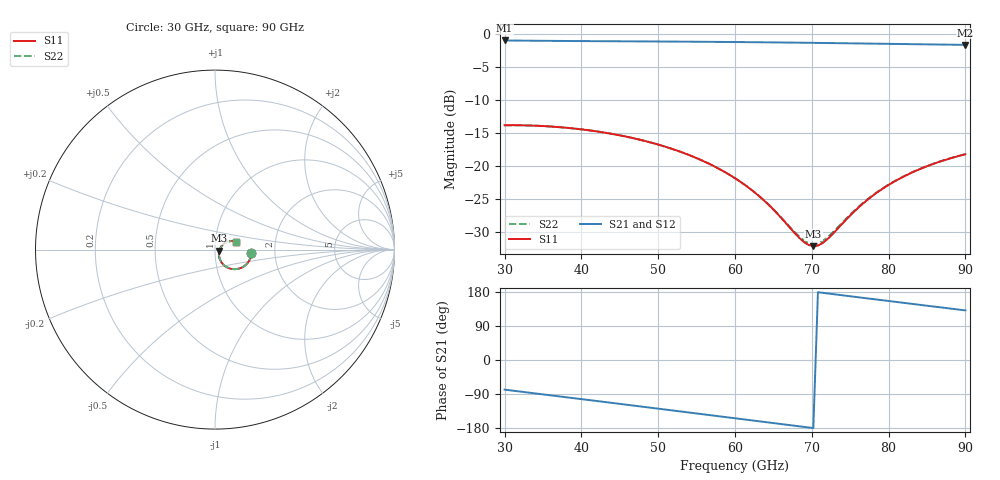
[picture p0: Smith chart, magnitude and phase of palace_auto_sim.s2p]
#  GHZ S DB R 50
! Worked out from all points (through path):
!   101 points, 30 GHz to 90 GHz, reference 50 ohm
!   highest |S21| = -0.97 dB at 30 GHz (marker M1); lowest = -1.6 dB at 90 GHz (marker M2)
!   group delay of S21, straight-line fit = 7.01 ps
!   lowest |S11| = -32.1 dB at 70.2 GHz (marker M3), VSWR 1.05, Z = 52.4 - j0.695 ohm
!   |S11| at or under -10 dB: start of sweep to end of sweep
!   |S22| runs from -31.8 to -13.8 dB; largest |S21 - S12| = 9.6e-14
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30  -13.82 -6.1  -0.97 -78.3  -0.97 -78.3  -13.82 -6.0
33  -13.85 -12.6  -1.00 -85.7  -1.00 -85.7  -13.85 -12.5
35.4  -13.97 -17.8  -1.03 -91.7  -1.03 -91.7  -13.97 -17.7
40.2  -14.47 -28.1  -1.07 -103.7  -1.07 -103.7  -14.47 -28.0
45  -15.35 -38.1  -1.10 -115.8  -1.10 -115.8  -15.35 -38.0
50.4  -16.88 -48.8  -1.13 -129.4  -1.13 -129.4  -16.89 -48.6
53.4  -18.05 -54.3  -1.15 -137.0  -1.15 -137.0  -18.06 -53.9
55.8  -19.20 -58.2  -1.17 -143.1  -1.17 -143.1  -19.21 -57.8
60  -21.84 -63.1  -1.21 -153.8  -1.21 -153.8  -21.84 -62.5
62.4  -23.84 -63.8  -1.24 -159.9  -1.24 -159.9  -23.83 -63.0
64.2  -25.67 -62.2  -1.26 -164.4  -1.26 -164.4  -25.64 -61.2
68.4  -30.93 -39.7  -1.31 -175.1  -1.31 -175.1  -30.74 -38.5
69.6  -31.96 -24.4  -1.33 -178.1  -1.33 -178.1  -31.70 -23.5
70.2  -32.14 -15.5  -1.33 -179.6  -1.33 -179.6  -31.85 -15.0
70.8  -32.03 -6.6  -1.34 178.8  -1.34 178.8  -31.74 -6.4
72  -31.12 8.9  -1.36 175.8  -1.36 175.8  -30.85 8.6
76.2  -26.16 32.1  -1.42 165.2  -1.42 165.2  -26.05 31.4
78  -24.44 33.9  -1.45 160.7  -1.45 160.7  -24.36 33.3
80.4  -22.58 33.4  -1.49 154.7  -1.49 154.7  -22.53 32.9
84.6  -20.21 29.0  -1.56 144.3  -1.56 144.3  -20.18 28.6
87  -19.21 25.4  -1.59 138.3  -1.59 138.3  -19.18 25.1
90  -18.22 20.4  -1.64 130.9  -1.64 130.9  -18.20 20.2
